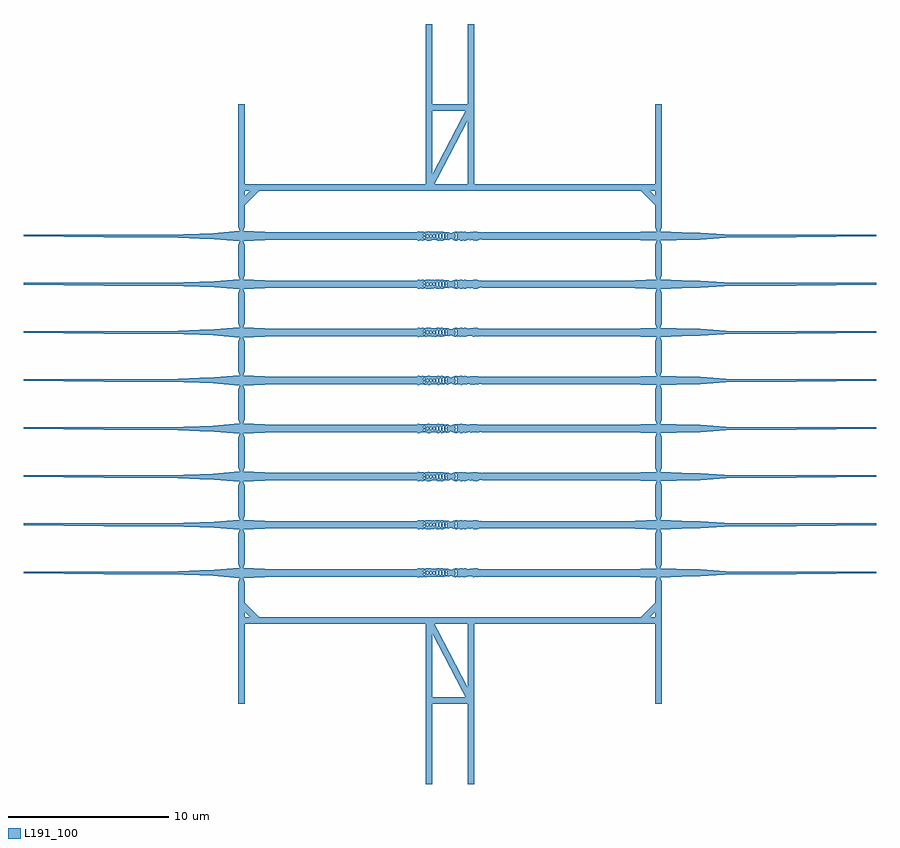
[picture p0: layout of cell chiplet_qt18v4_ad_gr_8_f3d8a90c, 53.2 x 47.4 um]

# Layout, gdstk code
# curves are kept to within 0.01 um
from math import pi, radians
import gdstk
lib = gdstk.Library(unit=1e-6, precision=1e-09)
def R(c, l, rs):  # rectangles x0, y0, x1, y1
    for r in rs: c.add(gdstk.rectangle(r[:2], r[2:], *l))
def P(c, l, *ps):  # polygons
    for p in ps: c.add(gdstk.Polygon(p, *l))
L191_100 = (191, 100)

qt18_180nm_gap_cavity_9e = lib.new_cell('QT18_180nm_gap_cavity_9e89cd71')
P(qt18_180nm_gap_cavity_9e, L191_100, [(-1.988,0.292),(-1.848,0.256),(-1.7,0.277),(-1.604,0.252),(-1.348,0.289),(-1.144,0.26),(-0.832,0.268),(-0.752,0.285),(-0.612,0.26),(-0.504,0.283),(-0.356,0.243),(-0.144,0.255),(0.024,0.18),(0.108,0.185),(0.192,0.228),(0.372,0.28),(0.532,0.256),(0.688,0.287),(0.8,0.256),(0.932,0.279),(1.052,0.24),(1.176,0.231),(1.296,0.258),(1.4,0.253),(1.48,0.276),(1.664,0.276),(1.784,0.233),(1.924,0.233),(2,0.212),(2.002,-0.204),(0.372,-0.204),(0.412,-0.18),(0.446,-0.098),(0.433,-0.002),(0.442,0.118),(0.412,0.18),(0.372,0.204),(0.336,0.195),(0.31,0.146),(0.346,0.006),(0.31,-0.114),(0.318,-0.172),(-0.208,-0.172),(-0.177,-0.154),(-0.161,-0.122),(-0.199,-0.006),(-0.163,0.09),(-0.163,0.13),(-0.188,0.164),(-0.228,0.169),(-0.268,0.136),(-0.286,0.098),(-0.269,0.006),(-0.286,-0.098),(-0.268,-0.136),(-0.228,-0.169),(0.321,-0.176),(-0.396,-0.176),(-0.364,-0.152),(-0.342,-0.106),(-0.36,-0.006),(-0.342,0.106),(-0.364,0.152),(-0.396,0.176),(-0.436,0.164),(-0.478,0.106),(-0.466,-0.018),(-0.48,-0.09),(-0.446,-0.155),(-0.6,-0.155),(-0.558,-0.13),(-0.539,-0.09),(-0.549,0.01),(-0.538,0.082),(-0.558,0.13),(-0.584,0.151),(-0.616,0.151),(-0.646,0.122),(-0.664,0.066),(-0.662,-0.082),(-0.637,-0.134),(-0.6,-0.155),(-0.438,-0.162),(-0.804,-0.162),(-0.762,-0.13),(-0.74,-0.062),(-0.747,0.098),(-0.772,0.142),(-0.804,0.162),(-0.841,0.146),(-0.862,0.102),(-0.864,-0.086),(-0.992,-0.086),(-0.942,-0.054),(-0.924,-0.006),(-0.934,0.042),(-0.972,0.08),(-1.022,0.078),(-1.062,0.018),(-1.057,-0.034),(-1.022,-0.078),(-0.863,-0.093),(-1.196,-0.093),(-1.149,-0.066),(-1.125,-0.006),(-1.138,0.05),(-1.184,0.091),(-1.232,0.081),(-1.27,0.018),(-1.258,-0.05),(-1.212,-0.091),(-0.863,-0.096),(-1.4,-0.096),(-1.359,-0.07),(-1.334,-0.018),(-1.338,0.034),(-1.372,0.083),(-1.424,0.092),(-1.478,0.035),(-1.6,0.035),(-1.548,0.062),(-1.538,0.102),(-1.564,0.146),(-1.604,0.167),(-1.642,0.15),(-1.669,0.102),(-1.658,0.066),(-1.62,0.038),(-1.478,0.035),(-1.469,-0.054),(-1.408,-0.096),(-0.863,-0.096),(-0.844,-0.142),(-0.816,-0.162),(-0.43,-0.167),(-1.604,-0.167),(-1.564,-0.146),(-1.538,-0.102),(-1.548,-0.062),(-1.6,-0.035),(-1.636,-0.046),(-1.665,-0.078),(-1.653,-0.138),(-1.608,-0.167),(0.321,-0.176),(0.36,-0.204),(2.002,-0.206),(1.924,-0.233),(1.784,-0.233),(1.664,-0.276),(1.48,-0.276),(1.4,-0.253),(1.296,-0.258),(1.176,-0.231),(1.052,-0.24),(0.932,-0.279),(0.8,-0.256),(0.688,-0.287),(0.564,-0.256),(0.364,-0.279),(0.192,-0.228),(0.108,-0.185),(0.024,-0.18),(-0.144,-0.255),(-0.356,-0.243),(-0.504,-0.283),(-0.612,-0.26),(-0.732,-0.285),(-0.848,-0.267),(-1.144,-0.26),(-1.348,-0.289),(-1.604,-0.252),(-1.7,-0.277),(-1.848,-0.256),(-2,-0.292),(-2.002,0.29)])

taper_cross_section_b099 = lib.new_cell('taper_cross_section_b0997aaa')
P(taper_cross_section_b099, L191_100, [(0,-0.23),(0.03,-0.23),(0.061,-0.23),(0.091,-0.23),(0.121,-0.23),(0.152,-0.23),(0.182,-0.23),(0.212,-0.23),(0.242,-0.23),(0.273,-0.23),(0.303,-0.23),(0.333,-0.23),(0.364,-0.23),(0.394,-0.23),(0.424,-0.23),(0.455,-0.23),(0.485,-0.23),(0.515,-0.23),(0.545,-0.23),(0.576,-0.23),(0.606,-0.23),(0.636,-0.23),(0.667,-0.23),(0.697,-0.23),(0.727,-0.23),(0.758,-0.23),(0.788,-0.23),(0.818,-0.23),(0.848,-0.23),(0.879,-0.23),(0.909,-0.23),(0.939,-0.23),(0.97,-0.23),(1,-0.23),(1.03,-0.23),(1.061,-0.23),(1.091,-0.23),(1.121,-0.23),(1.152,-0.23),(1.182,-0.23),(1.212,-0.23),(1.242,-0.23),(1.273,-0.23),(1.303,-0.23),(1.333,-0.23),(1.364,-0.23),(1.394,-0.23),(1.424,-0.23),(1.455,-0.23),(1.485,-0.23),(1.515,-0.23),(1.545,-0.23),(1.576,-0.23),(1.606,-0.23),(1.636,-0.23),(1.667,-0.23),(1.697,-0.23),(1.727,-0.23),(1.758,-0.23),(1.788,-0.23),(1.818,-0.23),(1.848,-0.23),(1.879,-0.23),(1.909,-0.23),(1.939,-0.23),(1.97,-0.23),(2,-0.23),(2.03,-0.23),(2.061,-0.23),(2.091,-0.23),(2.121,-0.23),(2.152,-0.23),(2.182,-0.23),(2.212,-0.23),(2.242,-0.23),(2.273,-0.23),(2.303,-0.23),(2.333,-0.23),(2.364,-0.23),(2.394,-0.23),(2.424,-0.23),(2.455,-0.23),(2.485,-0.23),(2.515,-0.23),(2.545,-0.23),(2.576,-0.23),(2.606,-0.23),(2.636,-0.23),(2.667,-0.23),(2.697,-0.23),(2.727,-0.23),(2.758,-0.23),(2.788,-0.23),(2.818,-0.23),(2.848,-0.23),(2.879,-0.23),(2.909,-0.23),(2.939,-0.23),(2.97,-0.23),(3,-0.23),(3,0.23),(2.97,0.23),(2.939,0.23),(2.909,0.23),(2.879,0.23),(2.848,0.23),(2.818,0.23),(2.788,0.23),(2.758,0.23),(2.727,0.23),(2.697,0.23),(2.667,0.23),(2.636,0.23),(2.606,0.23),(2.576,0.23),(2.545,0.23),(2.515,0.23),(2.485,0.23),(2.455,0.23),(2.424,0.23),(2.394,0.23),(2.364,0.23),(2.333,0.23),(2.303,0.23),(2.273,0.23),(2.242,0.23),(2.212,0.23),(2.182,0.23),(2.152,0.23),(2.121,0.23),(2.091,0.23),(2.061,0.23),(2.03,0.23),(2,0.23),(1.97,0.23),(1.939,0.23),(1.909,0.23),(1.879,0.23),(1.848,0.23),(1.818,0.23),(1.788,0.23),(1.758,0.23),(1.727,0.23),(1.697,0.23),(1.667,0.23),(1.636,0.23),(1.606,0.23),(1.576,0.23),(1.545,0.23),(1.515,0.23),(1.485,0.23),(1.455,0.23),(1.424,0.23),(1.394,0.23),(1.364,0.23),(1.333,0.23),(1.303,0.23),(1.273,0.23),(1.242,0.23),(1.212,0.23),(1.182,0.23),(1.152,0.23),(1.121,0.23),(1.091,0.23),(1.061,0.23),(1.03,0.23),(1,0.23),(0.97,0.23),(0.939,0.23),(0.909,0.23),(0.879,0.23),(0.848,0.23),(0.818,0.23),(0.788,0.23),(0.758,0.23),(0.727,0.23),(0.697,0.23),(0.667,0.23),(0.636,0.23),(0.606,0.23),(0.576,0.23),(0.545,0.23),(0.515,0.23),(0.485,0.23),(0.455,0.23),(0.424,0.23),(0.394,0.23),(0.364,0.23),(0.333,0.23),(0.303,0.23),(0.273,0.23),(0.242,0.23),(0.212,0.23),(0.182,0.23),(0.152,0.23),(0.121,0.23),(0.091,0.23),(0.061,0.23),(0.03,0.23),(0,0.23)])

taper_cross_section_83e5 = lib.new_cell('taper_cross_section_83e5c939')
P(taper_cross_section_83e5, L191_100, [(0,-0.23),(0.03,-0.23),(0.061,-0.23),(0.091,-0.23),(0.121,-0.23),(0.152,-0.23),(0.182,-0.23),(0.212,-0.23),(0.242,-0.23),(0.273,-0.23),(0.303,-0.23),(0.333,-0.23),(0.364,-0.23),(0.394,-0.23),(0.424,-0.23),(0.455,-0.23),(0.485,-0.23),(0.515,-0.23),(0.545,-0.23),(0.576,-0.23),(0.606,-0.23),(0.636,-0.23),(0.667,-0.23),(0.697,-0.23),(0.727,-0.23),(0.758,-0.23),(0.788,-0.23),(0.818,-0.23),(0.848,-0.23),(0.879,-0.23),(0.909,-0.23),(0.939,-0.23),(0.97,-0.23),(1,-0.23),(1.03,-0.23),(1.061,-0.23),(1.091,-0.23),(1.121,-0.23),(1.152,-0.23),(1.182,-0.23),(1.212,-0.23),(1.242,-0.23),(1.273,-0.23),(1.303,-0.23),(1.333,-0.23),(1.364,-0.23),(1.394,-0.23),(1.424,-0.23),(1.455,-0.23),(1.485,-0.23),(1.515,-0.23),(1.545,-0.23),(1.576,-0.23),(1.606,-0.23),(1.636,-0.23),(1.667,-0.23),(1.697,-0.23),(1.727,-0.23),(1.758,-0.23),(1.788,-0.23),(1.818,-0.23),(1.848,-0.23),(1.879,-0.23),(1.909,-0.23),(1.939,-0.23),(1.97,-0.23),(2,-0.23),(2.03,-0.23),(2.061,-0.23),(2.091,-0.23),(2.121,-0.23),(2.152,-0.23),(2.182,-0.23),(2.212,-0.23),(2.242,-0.23),(2.273,-0.23),(2.303,-0.23),(2.333,-0.23),(2.364,-0.23),(2.394,-0.23),(2.424,-0.23),(2.455,-0.23),(2.485,-0.23),(2.515,-0.23),(2.545,-0.23),(2.576,-0.23),(2.606,-0.23),(2.636,-0.23),(2.667,-0.23),(2.697,-0.23),(2.727,-0.23),(2.758,-0.23),(2.788,-0.23),(2.818,-0.23),(2.848,-0.23),(2.879,-0.23),(2.909,-0.23),(2.939,-0.23),(2.97,-0.23),(3,-0.23),(3,0.23),(2.97,0.23),(2.939,0.23),(2.909,0.23),(2.879,0.23),(2.848,0.23),(2.818,0.23),(2.788,0.23),(2.758,0.23),(2.727,0.23),(2.697,0.23),(2.667,0.23),(2.636,0.23),(2.606,0.23),(2.576,0.23),(2.545,0.23),(2.515,0.23),(2.485,0.23),(2.455,0.23),(2.424,0.23),(2.394,0.23),(2.364,0.23),(2.333,0.23),(2.303,0.23),(2.273,0.23),(2.242,0.23),(2.212,0.23),(2.182,0.23),(2.152,0.23),(2.121,0.23),(2.091,0.23),(2.061,0.23),(2.03,0.23),(2,0.23),(1.97,0.23),(1.939,0.23),(1.909,0.23),(1.879,0.23),(1.848,0.23),(1.818,0.23),(1.788,0.23),(1.758,0.23),(1.727,0.23),(1.697,0.23),(1.667,0.23),(1.636,0.23),(1.606,0.23),(1.576,0.23),(1.545,0.23),(1.515,0.23),(1.485,0.23),(1.455,0.23),(1.424,0.23),(1.394,0.23),(1.364,0.23),(1.333,0.23),(1.303,0.23),(1.273,0.23),(1.242,0.23),(1.212,0.23),(1.182,0.23),(1.152,0.23),(1.121,0.23),(1.091,0.23),(1.061,0.23),(1.03,0.23),(1,0.23),(0.97,0.23),(0.939,0.23),(0.909,0.23),(0.879,0.23),(0.848,0.23),(0.818,0.23),(0.788,0.23),(0.758,0.23),(0.727,0.23),(0.697,0.23),(0.667,0.23),(0.636,0.23),(0.606,0.23),(0.576,0.23),(0.545,0.23),(0.515,0.23),(0.485,0.23),(0.455,0.23),(0.424,0.23),(0.394,0.23),(0.364,0.23),(0.333,0.23),(0.303,0.23),(0.273,0.23),(0.242,0.23),(0.212,0.23),(0.182,0.23),(0.152,0.23),(0.121,0.23),(0.091,0.23),(0.061,0.23),(0.03,0.23),(0,0.23)])

coupled_qbit_c05c8f0a = lib.new_cell('coupled_qbit_c05c8f0a')
coupled_qbit_c05c8f0a.add(gdstk.Reference(qt18_180nm_gap_cavity_9e, (0,0)))
coupled_qbit_c05c8f0a.add(gdstk.Reference(taper_cross_section_b099, (5.002,0), rotation=pi))
coupled_qbit_c05c8f0a.add(gdstk.Reference(taper_cross_section_83e5, (-2.002,0), rotation=pi))

straight_15000633 = lib.new_cell('straight_15000633')
R(straight_15000633, L191_100, [(0,-0.23,5.898,0.23)])

compass_d79f009c = lib.new_cell('compass_d79f009c')
R(compass_d79f009c, L191_100, [(-0.1,-0.3,0.1,0.3)])

rectangle_ed88580b = lib.new_cell('rectangle_ed88580b')
rectangle_ed88580b.add(gdstk.Reference(compass_d79f009c, (0,0)))

taper_cross_section_74e0 = lib.new_cell('taper_cross_section_74e0f155')
P(taper_cross_section_74e0, L191_100, [(0,-0.225),(2,-0.3),(2,0.3),(0,0.225)])

taper_cross_section_a297 = lib.new_cell('taper_cross_section_a2972c19')
P(taper_cross_section_a297, L191_100, [(0,-0.23),(2,-0.3),(2,0.3),(0,0.23)])

taper_cross_section_20e0 = lib.new_cell('taper_cross_section_20e0bc68')
P(taper_cross_section_20e0, L191_100, [(0,-0.1),(0.25,-0.2),(0.25,0.2),(0,0.1)])

support_cross_f89d0b61 = lib.new_cell('support_cross_f89d0b61')
support_cross_f89d0b61.add(gdstk.Reference(rectangle_ed88580b, (0,0)))
support_cross_f89d0b61.add(gdstk.Reference(taper_cross_section_74e0, (2.1,0), rotation=pi))
support_cross_f89d0b61.add(gdstk.Reference(taper_cross_section_a297, (-2.1,0)))
support_cross_f89d0b61.add(gdstk.Reference(taper_cross_section_20e0, (0,0.3), rotation=pi/2))
support_cross_f89d0b61.add(gdstk.Reference(taper_cross_section_20e0, (0,-0.3), rotation=3*pi/2))

compass_87a1f7e4 = lib.new_cell('compass_87a1f7e4')
R(compass_87a1f7e4, L191_100, [(-0.1,-0.325,0.1,0.325)])

rectangle_03c840df = lib.new_cell('rectangle_03c840df')
rectangle_03c840df.add(gdstk.Reference(compass_87a1f7e4, (0,0)))

taper_cross_section_66c0 = lib.new_cell('taper_cross_section_66c08956')
P(taper_cross_section_66c0, L191_100, [(0,-0.23),(2,-0.325),(2,0.325),(0,0.23)])

taper_cross_section_2160 = lib.new_cell('taper_cross_section_2160c1e2')
P(taper_cross_section_2160, L191_100, [(0,-0.155),(2,-0.325),(2,0.325),(0,0.155)])

support_cross_91ce4cfd = lib.new_cell('support_cross_91ce4cfd')
support_cross_91ce4cfd.add(gdstk.Reference(rectangle_03c840df, (0,0)))
support_cross_91ce4cfd.add(gdstk.Reference(taper_cross_section_66c0, (2.1,0), rotation=pi))
support_cross_91ce4cfd.add(gdstk.Reference(taper_cross_section_2160, (-2.1,0)))
support_cross_91ce4cfd.add(gdstk.Reference(taper_cross_section_20e0, (0,0.325), rotation=pi/2))
support_cross_91ce4cfd.add(gdstk.Reference(taper_cross_section_20e0, (0,-0.325), rotation=3*pi/2))

inverse_design_qbit_beam = lib.new_cell('inverse_design_qbit_beam_25764ac5')
inverse_design_qbit_beam.add(gdstk.Reference(coupled_qbit_c05c8f0a, (0,0)))
inverse_design_qbit_beam.add(gdstk.Reference(straight_15000633, (-5.002,0), rotation=pi))
inverse_design_qbit_beam.add(gdstk.Reference(straight_15000633, (5.002,0)))
inverse_design_qbit_beam.add(gdstk.Reference(support_cross_f89d0b61, (13,0)))
inverse_design_qbit_beam.add(gdstk.Reference(support_cross_91ce4cfd, (-13,0)))

c_inverse_design_qbit_beam = lib.new_cell('inverse_design_qbit_beam_array_b937c304')
r = gdstk.Reference(inverse_design_qbit_beam, (0,0)); r.repetition = gdstk.Repetition(1, 8, v1=(1,0), v2=(0,3)); c_inverse_design_qbit_beam.add(r)

straight_cc08c24d = lib.new_cell('straight_cc08c24d')
R(straight_cc08c24d, L191_100, [(0,-0.2,1.85,0.2)])

straight_7ad87ee6 = lib.new_cell('straight_7ad87ee6')
R(straight_7ad87ee6, L191_100, [(0,-0.2,1.9,0.2)])

qbit_beam_array_d4dddfea = lib.new_cell('qbit_beam_array_d4dddfea')
qbit_beam_array_d4dddfea.add(gdstk.Reference(c_inverse_design_qbit_beam, (0,0)))
qbit_beam_array_d4dddfea.add(gdstk.Reference(straight_cc08c24d, (-13,0.575), rotation=pi/2))
qbit_beam_array_d4dddfea.add(gdstk.Reference(straight_7ad87ee6, (13,0.55), rotation=pi/2))
qbit_beam_array_d4dddfea.add(gdstk.Reference(straight_cc08c24d, (-13,3.575), rotation=pi/2))
qbit_beam_array_d4dddfea.add(gdstk.Reference(straight_7ad87ee6, (13,3.55), rotation=pi/2))
qbit_beam_array_d4dddfea.add(gdstk.Reference(straight_cc08c24d, (-13,6.575), rotation=pi/2))
qbit_beam_array_d4dddfea.add(gdstk.Reference(straight_7ad87ee6, (13,6.55), rotation=pi/2))
qbit_beam_array_d4dddfea.add(gdstk.Reference(straight_cc08c24d, (-13,9.575), rotation=pi/2))
qbit_beam_array_d4dddfea.add(gdstk.Reference(straight_7ad87ee6, (13,9.55), rotation=pi/2))
qbit_beam_array_d4dddfea.add(gdstk.Reference(straight_cc08c24d, (-13,12.575), rotation=pi/2))
qbit_beam_array_d4dddfea.add(gdstk.Reference(straight_7ad87ee6, (13,12.55), rotation=pi/2))
qbit_beam_array_d4dddfea.add(gdstk.Reference(straight_cc08c24d, (-13,15.575), rotation=pi/2))
qbit_beam_array_d4dddfea.add(gdstk.Reference(straight_7ad87ee6, (13,15.55), rotation=pi/2))
qbit_beam_array_d4dddfea.add(gdstk.Reference(straight_cc08c24d, (-13,18.575), rotation=pi/2))
qbit_beam_array_d4dddfea.add(gdstk.Reference(straight_7ad87ee6, (13,18.55), rotation=pi/2))

l_c8ea28a7 = lib.new_cell('L_c8ea28a7')
P(l_c8ea28a7, L191_100, [(-0.2,-0.2),(1.3,-0.2),(1.3,0.2),(0.2,0.2),(0.2,1.3),(-0.2,1.3),(-0.2,-0.2)])

extrude_f667d802 = lib.new_cell('extrude_f667d802')
P(extrude_f667d802, L191_100, [(1.181,0.141),(0.141,1.181),(-0.141,0.899),(0.899,-0.141)])

chiplet_frame_corner_fb6 = lib.new_cell('chiplet_frame_corner_fb6255ab')
chiplet_frame_corner_fb6.add(gdstk.Reference(l_c8ea28a7, (0,0)))
chiplet_frame_corner_fb6.add(gdstk.Reference(extrude_f667d802, (0,0)))

compass_2ac69cab = lib.new_cell('compass_2ac69cab')
R(compass_2ac69cab, L191_100, [(-0.2,-0.2,0.2,0.2)])

rectangle_2ac69cab = lib.new_cell('rectangle_2ac69cab')
rectangle_2ac69cab.add(gdstk.Reference(compass_2ac69cab, (0.2,0.2)))

straight_c0c98653 = lib.new_cell('straight_c0c98653')
R(straight_c0c98653, L191_100, [(0,-0.2,2,0.2)])

straight_d8296038 = lib.new_cell('straight_d8296038')
R(straight_d8296038, L191_100, [(0,-0.2,7.4,0.2)])

straight_0f47a090 = lib.new_cell('straight_0f47a090')
R(straight_0f47a090, L191_100, [(0,-0.2,2.2,0.2)])

straight_ca39a7c7 = lib.new_cell('straight_ca39a7c7')
R(straight_ca39a7c7, L191_100, [(0,-0.2,4.6,0.2)])

extrude_b28737ee = lib.new_cell('extrude_b28737ee')
P(extrude_b28737ee, L191_100, [(10.777,0.108),(13.377,5.108),(13.023,5.292),(10.423,0.292)])

breakout_midsection_7238 = lib.new_cell('breakout_midsection_7238e00b')
breakout_midsection_7238.add(gdstk.Reference(rectangle_2ac69cab, (0.2,0)))
breakout_midsection_7238.add(gdstk.Reference(rectangle_2ac69cab, (2.6,0)))
breakout_midsection_7238.add(gdstk.Reference(rectangle_2ac69cab, (10.4,0)))
breakout_midsection_7238.add(gdstk.Reference(rectangle_2ac69cab, (13,0)))
breakout_midsection_7238.add(gdstk.Reference(rectangle_2ac69cab, (20.8,0)))
breakout_midsection_7238.add(gdstk.Reference(rectangle_2ac69cab, (23.2,0)))
breakout_midsection_7238.add(gdstk.Reference(rectangle_2ac69cab, (10.4,5)))
breakout_midsection_7238.add(gdstk.Reference(rectangle_2ac69cab, (13,5)))
breakout_midsection_7238.add(gdstk.Reference(rectangle_2ac69cab, (10.4,10)))
breakout_midsection_7238.add(gdstk.Reference(rectangle_2ac69cab, (13,10)))
breakout_midsection_7238.add(gdstk.Reference(straight_c0c98653, (0.6,0.2)))
breakout_midsection_7238.add(gdstk.Reference(straight_d8296038, (3,0.2)))
breakout_midsection_7238.add(gdstk.Reference(straight_0f47a090, (10.8,0.2)))
breakout_midsection_7238.add(gdstk.Reference(straight_d8296038, (13.4,0.2)))
breakout_midsection_7238.add(gdstk.Reference(straight_c0c98653, (21.2,0.2)))
breakout_midsection_7238.add(gdstk.Reference(straight_0f47a090, (10.8,5.2)))
breakout_midsection_7238.add(gdstk.Reference(straight_ca39a7c7, (10.6,0.4), rotation=pi/2))
breakout_midsection_7238.add(gdstk.Reference(straight_ca39a7c7, (10.6,5.4), rotation=pi/2))
breakout_midsection_7238.add(gdstk.Reference(straight_ca39a7c7, (13.2,0.4), rotation=pi/2))
breakout_midsection_7238.add(gdstk.Reference(straight_ca39a7c7, (13.2,5.4), rotation=pi/2))
breakout_midsection_7238.add(gdstk.Reference(extrude_b28737ee, (0,0)))

straight_b8c71607 = lib.new_cell('straight_b8c71607')
R(straight_b8c71607, L191_100, [(0,-0.2,5,0.2)])

breakout_support_structu = lib.new_cell('breakout_support_structure_363ea766')
breakout_support_structu.add(gdstk.Reference(chiplet_frame_corner_fb6, (-1.1,0.2), x_reflection=True))
breakout_support_structu.add(gdstk.Reference(chiplet_frame_corner_fb6, (24.9,0.2), rotation=pi))
breakout_support_structu.add(gdstk.Reference(breakout_midsection_7238, (0,0)))
breakout_support_structu.add(gdstk.Reference(straight_b8c71607, (-1.1,0.4), rotation=pi/2))
breakout_support_structu.add(gdstk.Reference(straight_b8c71607, (24.9,0.4), rotation=pi/2))

straight_2f2d2c75 = lib.new_cell('straight_2f2d2c75')
R(straight_2f2d2c75, L191_100, [(0,-0.2,1.155,0.2)])

straight_f5ab2834 = lib.new_cell('straight_f5ab2834')
R(straight_f5ab2834, L191_100, [(0,-0.2,1.18,0.2)])

c_breakout_support_structu = lib.new_cell('breakout_support_structure_with_base_extension_5c3bd4ee')
c_breakout_support_structu.add(gdstk.Reference(breakout_support_structu, (0,0)))
c_breakout_support_structu.add(gdstk.Reference(straight_2f2d2c75, (-1.1,-1.1), rotation=3*pi/2))
c_breakout_support_structu.add(gdstk.Reference(straight_f5ab2834, (24.9,-1.1), rotation=3*pi/2))

straight_6bc4b7b7 = lib.new_cell('straight_6bc4b7b7')
R(straight_6bc4b7b7, L191_100, [(0,-0.2,1.095,0.2)])

straight_a05f0073 = lib.new_cell('straight_a05f0073')
R(straight_a05f0073, L191_100, [(0,-0.2,1.12,0.2)])

c_breakout_support_structu_ = lib.new_cell('breakout_support_structure_with_base_extension_84308aab')
c_breakout_support_structu_.add(gdstk.Reference(breakout_support_structu, (0,0)))
c_breakout_support_structu_.add(gdstk.Reference(straight_6bc4b7b7, (-1.1,-1.1), rotation=3*pi/2))
c_breakout_support_structu_.add(gdstk.Reference(straight_a05f0073, (24.9,-1.1), rotation=3*pi/2))

qt_chiplet_v2_51aac46b = lib.new_cell('qt_chiplet_v2_51aac46b')
qt_chiplet_v2_51aac46b.add(gdstk.Reference(qbit_beam_array_d4dddfea, (0,0)))
qt_chiplet_v2_51aac46b.add(gdstk.Reference(c_breakout_support_structu, (-11.9,23.83)))
qt_chiplet_v2_51aac46b.add(gdstk.Reference(c_breakout_support_structu_, (-11.9,-2.77), x_reflection=True))

chiplet_qt18v4_8d6b0e8d = lib.new_cell('chiplet_qt18v4_8d6b0e8d')
chiplet_qt18v4_8d6b0e8d.add(gdstk.Reference(qt_chiplet_v2_51aac46b, (0,0)))

straight_5b8eeee8 = lib.new_cell('straight_5b8eeee8')
R(straight_5b8eeee8, L191_100, [(0,-0.155,0.5,0.155)])

taper_9b1bdfca = lib.new_cell('taper_9b1bdfca')
P(taper_9b1bdfca, L191_100, [(0,0.155),(2,0.08),(2,-0.08),(0,-0.155)])

straight_3af902ff = lib.new_cell('straight_3af902ff')
R(straight_3af902ff, L191_100, [(0,-0.08,4,0.08)])

ramp_6c3b3d98 = lib.new_cell('ramp_6c3b3d98')
P(ramp_6c3b3d98, L191_100, [(0,0.16),(5,0.1),(5,0),(0,0)])

xceleprint_d_sin_transit = lib.new_cell('xceleprint_d_sin_transition_7fae5980')
xceleprint_d_sin_transit.add(gdstk.Reference(straight_5b8eeee8, (0,0)))
xceleprint_d_sin_transit.add(gdstk.Reference(taper_9b1bdfca, (0.5,0)))
xceleprint_d_sin_transit.add(gdstk.Reference(straight_3af902ff, (2.5,0)))
xceleprint_d_sin_transit.add(gdstk.Reference(ramp_6c3b3d98, (6.5,0.08), x_reflection=True))

straight_ee09d4de = lib.new_cell('straight_ee09d4de')
R(straight_ee09d4de, L191_100, [(0,-0.225,0.5,0.225)])

taper_5277910b = lib.new_cell('taper_5277910b')
P(taper_5277910b, L191_100, [(0,0.225),(2,0.08),(2,-0.08),(0,-0.225)])

c_xceleprint_d_sin_transit = lib.new_cell('xceleprint_d_sin_transition_d7fa76c1')
c_xceleprint_d_sin_transit.add(gdstk.Reference(straight_ee09d4de, (0,0)))
c_xceleprint_d_sin_transit.add(gdstk.Reference(taper_5277910b, (0.5,0)))
c_xceleprint_d_sin_transit.add(gdstk.Reference(straight_3af902ff, (2.5,0)))
c_xceleprint_d_sin_transit.add(gdstk.Reference(ramp_6c3b3d98, (6.5,0.08), x_reflection=True))

chiplet_qt18v4_ad_gr_8_f = lib.new_cell('chiplet_qt18v4_ad_gr_8_f3d8a90c')
chiplet_qt18v4_ad_gr_8_f.add(gdstk.Reference(chiplet_qt18v4_8d6b0e8d, (0,-10.53)))
chiplet_qt18v4_ad_gr_8_f.add(gdstk.Reference(xceleprint_d_sin_transit, (-15.1,-10.53), rotation=pi, x_reflection=True))
chiplet_qt18v4_ad_gr_8_f.add(gdstk.Reference(xceleprint_d_sin_transit, (-15.1,-7.53), rotation=pi, x_reflection=True))
chiplet_qt18v4_ad_gr_8_f.add(gdstk.Reference(xceleprint_d_sin_transit, (-15.1,-4.53), rotation=pi, x_reflection=True))
chiplet_qt18v4_ad_gr_8_f.add(gdstk.Reference(xceleprint_d_sin_transit, (-15.1,-1.53), rotation=pi, x_reflection=True))
chiplet_qt18v4_ad_gr_8_f.add(gdstk.Reference(xceleprint_d_sin_transit, (-15.1,1.47), rotation=pi, x_reflection=True))
chiplet_qt18v4_ad_gr_8_f.add(gdstk.Reference(xceleprint_d_sin_transit, (-15.1,4.47), rotation=pi, x_reflection=True))
chiplet_qt18v4_ad_gr_8_f.add(gdstk.Reference(xceleprint_d_sin_transit, (-15.1,7.47), rotation=pi, x_reflection=True))
chiplet_qt18v4_ad_gr_8_f.add(gdstk.Reference(xceleprint_d_sin_transit, (-15.1,10.47), rotation=pi, x_reflection=True))
chiplet_qt18v4_ad_gr_8_f.add(gdstk.Reference(c_xceleprint_d_sin_transit, (15.1,10.47)))
chiplet_qt18v4_ad_gr_8_f.add(gdstk.Reference(c_xceleprint_d_sin_transit, (15.1,7.47)))
chiplet_qt18v4_ad_gr_8_f.add(gdstk.Reference(c_xceleprint_d_sin_transit, (15.1,4.47)))
chiplet_qt18v4_ad_gr_8_f.add(gdstk.Reference(c_xceleprint_d_sin_transit, (15.1,1.47)))
chiplet_qt18v4_ad_gr_8_f.add(gdstk.Reference(c_xceleprint_d_sin_transit, (15.1,-1.53)))
chiplet_qt18v4_ad_gr_8_f.add(gdstk.Reference(c_xceleprint_d_sin_transit, (15.1,-4.53)))
chiplet_qt18v4_ad_gr_8_f.add(gdstk.Reference(c_xceleprint_d_sin_transit, (15.1,-7.53)))
chiplet_qt18v4_ad_gr_8_f.add(gdstk.Reference(c_xceleprint_d_sin_transit, (15.1,-10.53)))

lib.write_gds('chiplet_qt18v4_ad_gr_8_f3d8a90c.gds')
